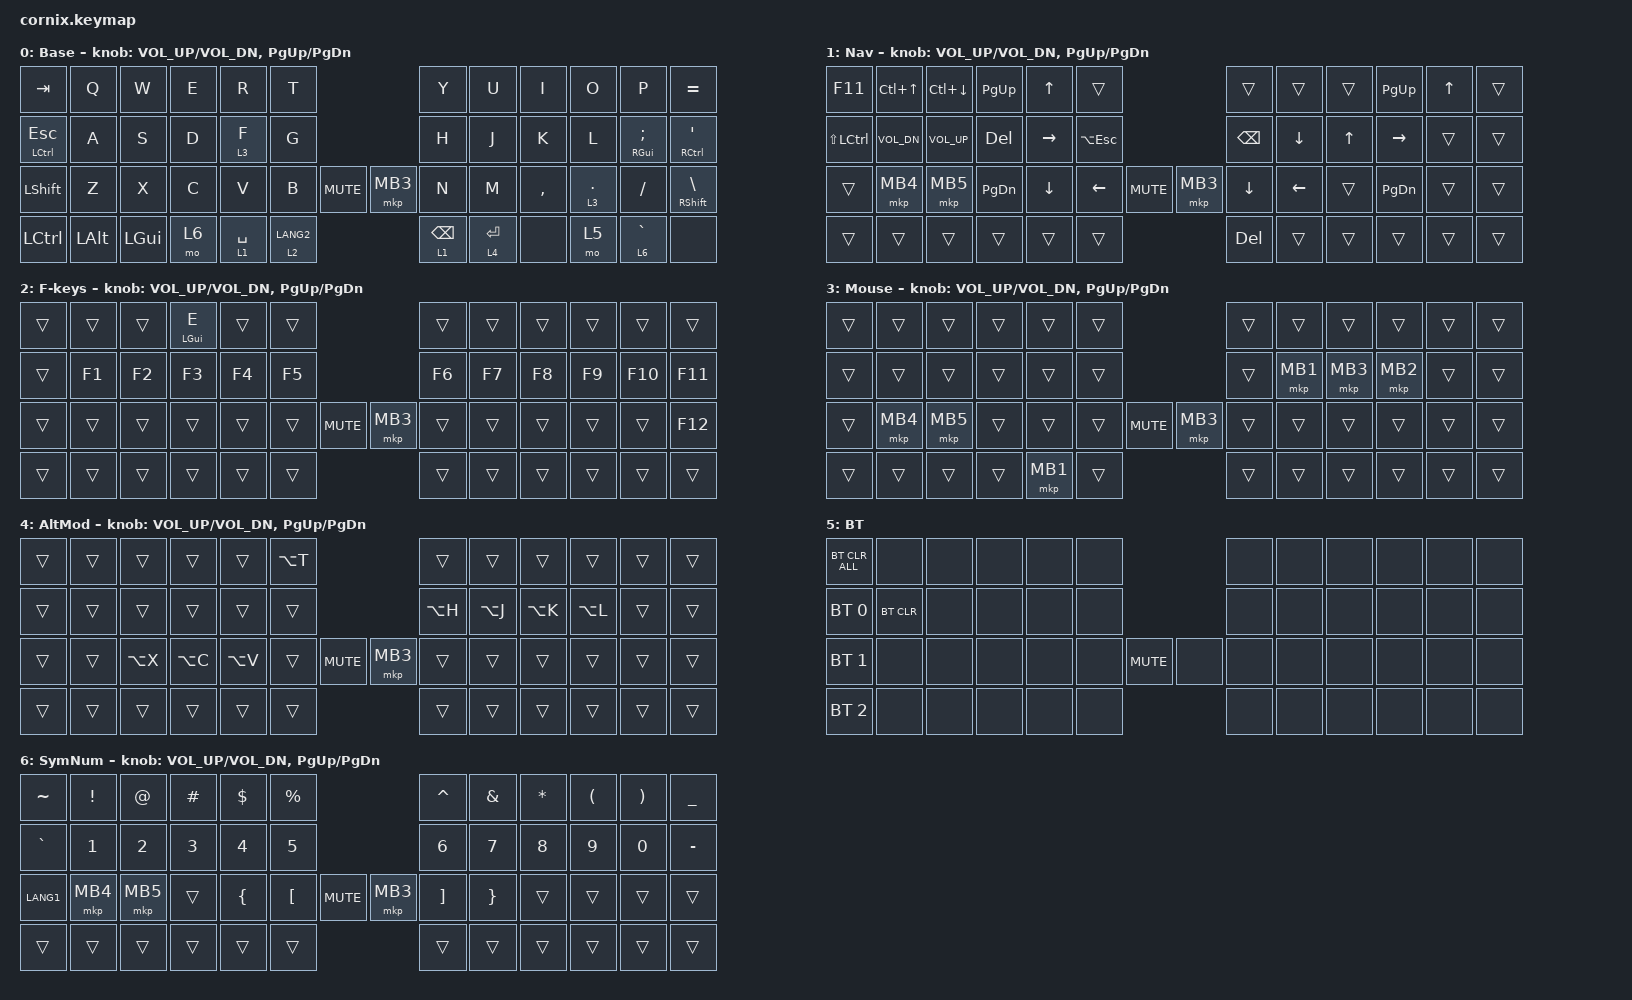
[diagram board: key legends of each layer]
/*
 * Cornix LP Custom Keymap
 * Based on default keymap structure, layers converted from Vial MigratedLayout.vil
 * Source: masatomix/task docs/research/543_keyball-cornix-migration/
 *
 * SPDX-License-Identifier: MIT
 */

#include "zmk-helpers/helper.h"
#include "includes/cornix54.h"
#include <behaviors.dtsi>
#include <dt-bindings/zmk/bt.h>
#include <dt-bindings/zmk/keys.h>
#include <dt-bindings/zmk/pointing.h>

#define HM_TAPPING_TERM 250
#define HM_TAPPING_TERM_FAST 200
#define HM_PRIOR_IDLE 70

#define KEYS_L LT0 LT1 LT2 LT3 LT4 LT5 LM0 LM1 LM2 LM3 LM4 LM5 LB0 LB1 LB2 LB3 LB4 LB5
#define KEYS_R RT0 RT1 RT2 RT3 RT4 RT5 RM0 RM1 RM2 RM3 RM4 RM5 RB0 RB1 RB2 RB3 RB4 RB5
#define THUMBS LH1 LH0 RH0 RH1
#define KEYS_T LH1 LH0 RH0 RH1

#include <dt-bindings/zmk/bt.h>
#include <dt-bindings/zmk/ext_power.h>
#include <dt-bindings/zmk/keys.h>
#include <dt-bindings/zmk/pointing.h>

/ {
    behaviors {
        hm_l: homerow_mods_left {
            compatible = "zmk,behavior-hold-tap";
            #binding-cells = <2>;
            bindings = <&kp>, <&kp>;
            flavor = "balanced";
            tapping-term-ms = <HM_TAPPING_TERM>;
            quick-tap-ms = <200>;
            require-prior-idle-ms = <HM_PRIOR_IDLE>;
            hold-trigger-key-positions = <KEYS_R KEYS_T>;
            hold-trigger-on-release;
        };

        hm_r: homerow_mods_right {
            compatible = "zmk,behavior-hold-tap";
            #binding-cells = <2>;
            bindings = <&kp>, <&kp>;
            flavor = "balanced";
            tapping-term-ms = <HM_TAPPING_TERM>;
            quick-tap-ms = <200>;
            require-prior-idle-ms = <HM_PRIOR_IDLE>;
            hold-trigger-key-positions = <KEYS_L KEYS_T>;
            hold-trigger-on-release;
        };

        hm_shift_l: hm_shift_l {
            compatible = "zmk,behavior-hold-tap";
            #binding-cells = <2>;
            bindings = <&kp>, <&kp>;
            flavor = "balanced";
            tapping-term-ms = <HM_TAPPING_TERM_FAST>;
            quick-tap-ms = <200>;
            require-prior-idle-ms = <HM_PRIOR_IDLE>;
            hold-trigger-key-positions = <KEYS_R KEYS_T>;
            hold-trigger-on-release;
        };

        hm_shift_r: hm_shift_r {
            compatible = "zmk,behavior-hold-tap";
            #binding-cells = <2>;
            bindings = <&kp>, <&kp>;
            flavor = "balanced";
            tapping-term-ms = <HM_TAPPING_TERM_FAST>;
            quick-tap-ms = <200>;
            require-prior-idle-ms = <HM_PRIOR_IDLE>;
            hold-trigger-key-positions = <KEYS_L KEYS_T>;
            hold-trigger-on-release;
        };

        hm: homerow_mods {
            compatible = "zmk,behavior-hold-tap";
            #binding-cells = <2>;
            bindings = <&kp>, <&kp>;
            flavor = "balanced";
            tapping-term-ms = <HM_TAPPING_TERM>;
            quick-tap-ms = <200>;
        };

        lt: layer_tap {
            compatible = "zmk,behavior-hold-tap";
            #binding-cells = <2>;
            bindings = <&mo>, <&kp>;
            flavor = "balanced";
            tapping-term-ms = <HM_TAPPING_TERM>;
            quick-tap-ms = <200>;
        };
    };

    keymap {
        compatible = "zmk,keymap";

        // Layer 0: Base QWERTY
        base_layer {
            display-name = "Base";
            bindings = <
&kp TAB        &kp Q     &kp W     &kp E   &kp R        &kp T                                  &kp Y        &kp U       &kp I      &kp O      &kp P          &kp EQUAL
&mt LCTRL ESC  &kp A     &kp S     &kp D   &lt 3 F      &kp G                                  &kp H        &kp J       &kp K      &kp L      &mt RGUI SEMI  &mt RCTRL SQT
&kp LSHFT      &kp Z     &kp X     &kp C   &kp V        &kp B       &kp C_MUTE   &mkp MB3      &kp N        &kp M       &kp COMMA  &lt 3 DOT  &kp FSLH       &mt RSHFT BSLH
&kp LCTRL      &kp LALT  &kp LGUI  &mo 6   &lt 1 SPACE  &lt 2 LANG2                            &lt 1 BSPC   &lt 4 RET   &none      &mo 5      &lt 6 GRAVE    &none
            >;
            sensor-bindings = <&inc_dec_kp C_VOL_UP C_VOL_DN &inc_dec_kp PG_UP PG_DN>;
        };

        // Layer 1: Navigation
        nav_layer {
            display-name = "Nav";
            bindings = <
&kp F11         &kp LC(UP)    &kp LC(DOWN)  &kp PG_UP  &kp UP     &trans                              &trans    &trans    &trans     &kp PG_UP  &kp UP    &trans
&kp LS(LCTRL)   &kp C_VOL_DN  &kp C_VOL_UP  &kp DEL    &kp RIGHT  &kp LA(ESC)                         &kp BSPC  &kp DOWN  &kp UP     &kp RIGHT  &trans    &trans
&trans          &mkp MB4      &mkp MB5      &kp PG_DN  &kp DOWN   &kp LEFT     &kp C_MUTE  &mkp MB3   &kp DOWN  &kp LEFT  &trans     &kp PG_DN  &trans    &trans
&trans          &trans        &trans        &trans     &trans     &trans                              &kp DEL   &trans    &trans     &trans     &trans    &trans
            >;
            sensor-bindings = <&inc_dec_kp C_VOL_UP C_VOL_DN &inc_dec_kp PG_UP PG_DN>;
        };

        // Layer 2: F-keys
        fkeys_layer {
            display-name = "F-keys";
            bindings = <
&trans  &trans  &trans  &mt LGUI E  &trans  &trans                          &trans  &trans  &trans  &trans  &trans   &trans
&trans  &kp F1  &kp F2  &kp F3      &kp F4  &kp F5                          &kp F6  &kp F7  &kp F8  &kp F9  &kp F10  &kp F11
&trans  &trans  &trans  &trans      &trans  &trans  &kp C_MUTE  &mkp MB3    &trans  &trans  &trans  &trans  &trans   &kp F12
&trans  &trans  &trans  &trans      &trans  &trans                          &trans  &trans  &trans  &trans  &trans   &trans
            >;
            sensor-bindings = <&inc_dec_kp C_VOL_UP C_VOL_DN &inc_dec_kp PG_UP PG_DN>;
        };

        // Layer 3: Mouse
        mouse_layer {
            display-name = "Mouse";
            bindings = <
&trans  &trans    &trans    &trans  &trans    &trans                          &trans  &trans    &trans    &trans    &trans  &trans
&trans  &trans    &trans    &trans  &trans    &trans                          &trans  &mkp MB1  &mkp MB3  &mkp MB2  &trans  &trans
&trans  &mkp MB4  &mkp MB5  &trans  &trans    &trans  &kp C_MUTE  &mkp MB3  &trans  &trans    &trans    &trans    &trans  &trans
&trans  &trans    &trans    &trans  &mkp MB1  &trans                          &trans  &trans    &trans    &trans    &trans  &trans
            >;
            sensor-bindings = <&inc_dec_kp C_VOL_UP C_VOL_DN &inc_dec_kp PG_UP PG_DN>;
        };

        // Layer 4: Alt-modifier (LT4 = Enter hold)
        altmod_layer {
            display-name = "AltMod";
            bindings = <
&trans  &trans  &trans     &trans     &trans     &kp LA(T)                          &trans     &trans     &trans     &trans     &trans  &trans
&trans  &trans  &trans     &trans     &trans     &trans                             &kp LA(H)  &kp LA(J)  &kp LA(K)  &kp LA(L)  &trans  &trans
&trans  &trans  &kp LA(X)  &kp LA(C)  &kp LA(V)  &trans     &kp C_MUTE  &mkp MB3  &trans     &trans     &trans     &trans     &trans  &trans
&trans  &trans  &trans     &trans     &trans     &trans                             &trans     &trans     &trans     &trans     &trans  &trans
            >;
            sensor-bindings = <&inc_dec_kp C_VOL_UP C_VOL_DN &inc_dec_kp PG_UP PG_DN>;
        };

        // Layer 5: BT Management (MO(5) from Layer 0 right thumb)
        bt_layer {
            display-name = "BT";
            bindings = <
&bt BT_CLR_ALL  &none         &none  &none  &none  &none                       &none  &none  &none  &none  &none  &none
&bt BT_SEL 0    &bt BT_CLR    &none  &none  &none  &none                       &none  &none  &none  &none  &none  &none
&bt BT_SEL 1    &none         &none  &none  &none  &none  &kp C_MUTE  &none    &none  &none  &none  &none  &none  &none
&bt BT_SEL 2    &none         &none  &none  &none  &none                       &none  &none  &none  &none  &none  &none
            >;
        };

        // Layer 6: Symbols / Numbers
        symnum_layer {
            display-name = "SymNum";
            bindings = <
&kp TILDE  &kp EXCL  &kp AT    &kp HASH  &kp DLLR  &kp PRCNT                          &kp CARET  &kp AMPS  &kp ASTRK  &kp LPAR  &kp RPAR  &kp UNDER
&kp GRAVE  &kp N1    &kp N2    &kp N3    &kp N4    &kp N5                             &kp N6     &kp N7    &kp N8     &kp N9    &kp N0    &kp MINUS
&kp LANG1  &mkp MB4  &mkp MB5  &trans    &kp LBRC  &kp LBKT    &kp C_MUTE  &mkp MB3  &kp RBKT   &kp RBRC  &trans     &trans    &trans    &trans
&trans     &trans    &trans    &trans    &trans    &trans                             &trans     &trans    &trans     &trans    &trans    &trans
            >;
            sensor-bindings = <&inc_dec_kp C_VOL_UP C_VOL_DN &inc_dec_kp PG_UP PG_DN>;
        };
    };
};
